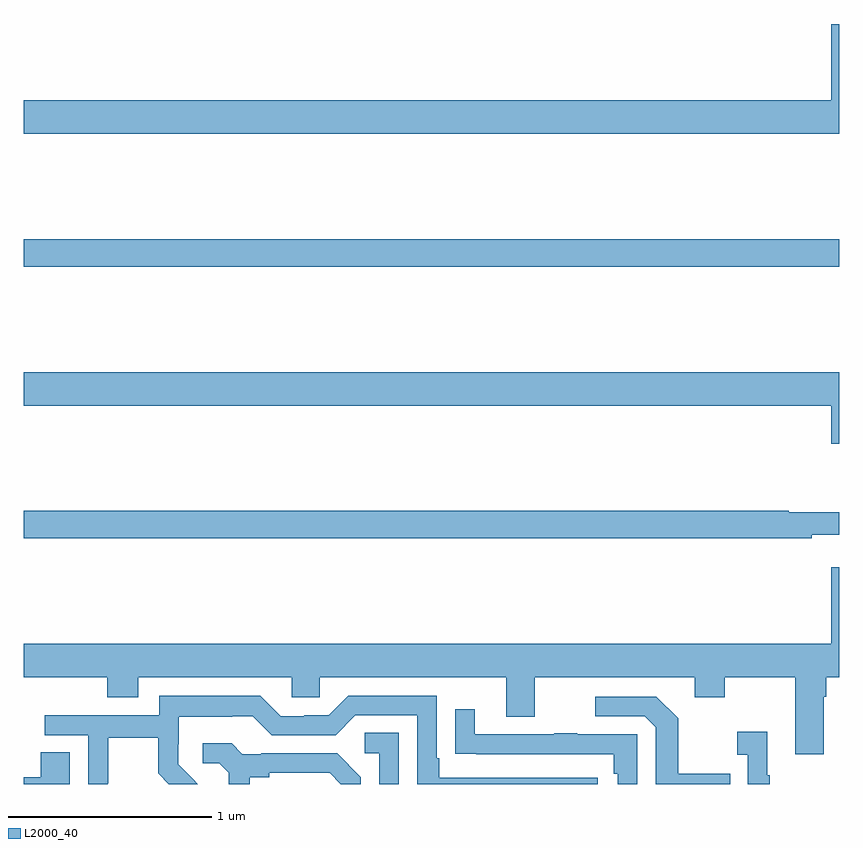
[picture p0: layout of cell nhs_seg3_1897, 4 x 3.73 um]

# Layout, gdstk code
import gdstk
lib = gdstk.Library(unit=1e-6, precision=1e-09)
def R(c, l, rs):  # rectangles x0, y0, x1, y1
    for r in rs: c.add(gdstk.rectangle(r[:2], r[2:], *l))
def P(c, l, *ps):  # polygons
    for p in ps: c.add(gdstk.Polygon(p, *l))
L2000_40 = (2000, 40)

nhs_seg3_1897 = lib.new_cell('nhs_seg3_1897')
R(nhs_seg3_1897, L2000_40, [(209,694.936,213,695.072)])
P(nhs_seg3_1897, L2000_40, [(213,696.127),(212.96,696.127),(212.96,695.752),(209,695.752),(209,695.588),(213,695.588)],
  [(213,694.42),(209,694.42),(209,694.256),(212.96,694.256),(212.96,694.068),(213,694.068)],
  [(212.864,693.623),(213,693.623),(213,693.733),(212.752,693.733),(212.752,693.74),(209,693.74),(209,693.604),(212.864,693.604)],
  [(212.923,692.828),(212.936,692.828),(212.936,692.924),(213,692.924),(213,693.463),(212.96,693.463),(212.96,693.088),(209,693.088),(209,692.924),(209.411,692.924),(209.411,692.825),(209.563,692.825),(209.563,692.924),(210.315,692.924),(210.315,692.826),(210.453,692.826),(210.453,692.924),(211.367,692.924),(211.367,692.73),(211.507,692.73),(211.507,692.924),(212.291,692.924),(212.291,692.825),(212.439,692.825),(212.439,692.924),(212.783,692.924),(212.783,692.547),(212.923,692.547)],
  [(209.412,692.404),(209.415,692.404),(209.415,692.628),(209.659,692.628),(209.659,692.453),(209.712,692.4),(209.854,692.4),(209.831,692.423),(209.832,692.424),(209.758,692.498),(209.758,692.595),(209.76,692.595),(209.76,692.729),(210.023,692.729),(210.023,692.733),(210.123,692.733),(210.216,692.64),(210.531,692.64),(210.627,692.736),(210.93,692.736),(210.93,692.4),(211.816,692.4),(211.816,692.43),(211.039,692.43),(211.039,692.527),(211.026,692.527),(211.026,692.832),(210.591,692.832),(210.495,692.736),(210.377,692.736),(210.377,692.733),(210.261,692.733),(210.161,692.833),(209.664,692.833),(209.664,692.736),(209.103,692.736),(209.103,692.64),(209.316,692.64),(209.316,692.4),(209.412,692.4)],
  [(212.465,692.451),(212.209,692.451),(212.209,692.723),(212.103,692.829),(211.803,692.829),(211.803,692.733),(212.046,692.733),(212.1,692.679),(212.1,692.4),(212.465,692.4)],
  [(212.01,692.643),(211.715,692.643),(211.715,692.648),(211.603,692.648),(211.603,692.643),(211.213,692.643),(211.213,692.767),(211.117,692.767),(211.117,692.548),(211.219,692.548),(211.219,692.547),(211.894,692.547),(211.894,692.45),(211.914,692.45),(211.914,692.4),(212.01,692.4)],
  [(212.659,692.443),(212.647,692.443),(212.647,692.656),(212.499,692.656),(212.499,692.543),(212.55,692.543),(212.55,692.4),(212.659,692.4)],
  [(210.84,692.651),(210.672,692.651),(210.672,692.55),(210.744,692.55),(210.744,692.4),(210.84,692.4)],
  [(210.109,692.432),(210.205,692.432),(210.205,692.454),(210.5,692.454),(210.554,692.4),(210.654,692.4),(210.654,692.434),(210.538,692.55),(210.166,692.55),(210.166,692.547),(210.072,692.547),(210.02,692.599),(209.877,692.599),(209.877,692.502),(209.958,692.502),(210.005,692.455),(210.005,692.4),(210.109,692.4)],
  [(209.227,692.555),(209.084,692.555),(209.084,692.432),(209,692.432),(209,692.4),(209.227,692.4)])

lib.write_gds('nhs_seg3_1897.gds')
